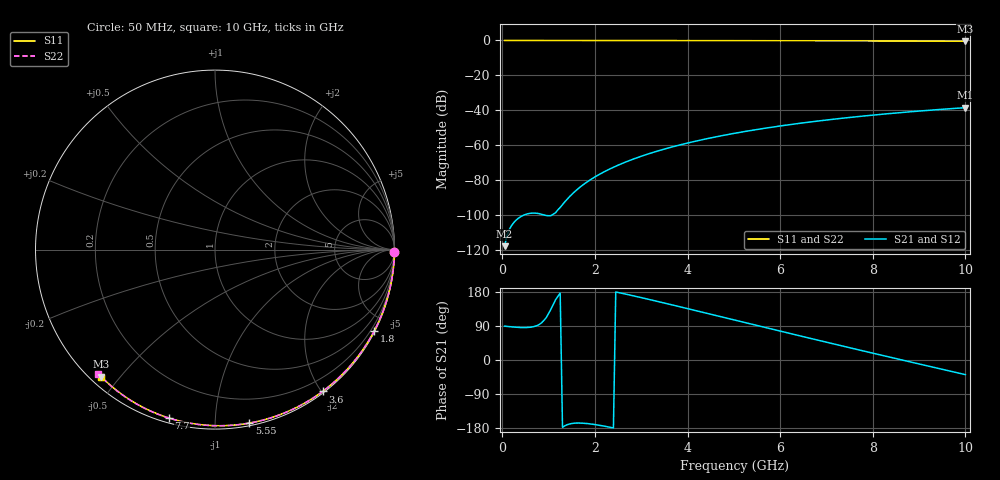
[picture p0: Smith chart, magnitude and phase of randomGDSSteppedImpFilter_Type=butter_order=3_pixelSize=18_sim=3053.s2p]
! freq	dB(S11)	phase(S11)	dB(S12)	phase(S12)
!  dB(S21)	phase(S21)	dB(S22)	phase(S22)
!S-par simulation data
#  GHz  S  DB  R 50
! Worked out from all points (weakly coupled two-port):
!   200 points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, 50 MHz to 10 GHz, reference 50 ohm
!   highest |S21| = -38.43 dB at 10 GHz (marker M1); lowest = -117.6 dB at 50 MHz (marker M2)
!   lowest |S11| = -0.4 dB at 10 GHz (marker M3), VSWR 39.04, Z = 1.54 - j22.4 ohm
!   |S11| at or under -10 dB: nowhere
!   |S22| runs from -0.5 to 0.0 dB; largest |S21 - S12| = 0
!   S11 on the Smith chart (normalised r, x): 50 MHz: open; 1.8 GHz: 0.04, -4.16; 3.6 GHz: 0.02, -2.01; 5.55 GHz: 0.02, -1.22; 7.7 GHz: 0.02, -0.76; 10 GHz: 0.03, -0.45
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0.05  -0.00 -0.8  -117.62 89.3  -117.62 89.3  -0.00 -0.8
0.9  -0.02 -13.6  -99.77 104.6  -99.77 104.6  -0.02 -13.8
1.75  -0.03 -26.3  -82.42 -166.8  -82.42 -166.8  -0.03 -26.6
1.8  -0.03 -27.0  -81.45 -167.3  -81.45 -167.3  -0.03 -27.3
1.85  -0.04 -27.7  -80.54 -167.9  -80.54 -167.9  -0.04 -28.0
1.9  -0.04 -28.5  -79.67 -168.7  -79.67 -168.7  -0.04 -28.8
2.05  -0.04 -30.7  -77.24 -171.3  -77.24 -171.3  -0.04 -31.0
2.25  -0.04 -33.6  -74.40 -175.6  -74.40 -175.6  -0.04 -34.0
2.45  -0.05 -36.5  -71.89 179.5  -71.89 179.5  -0.05 -36.9
2.65  -0.05 -39.4  -69.64 174.3  -69.64 174.3  -0.05 -39.8
3  -0.06 -44.4  -66.21 164.7  -66.21 164.7  -0.06 -44.9
3.4  -0.07 -50.0  -62.85 153.2  -62.85 153.2  -0.07 -50.6
3.6  -0.07 -52.8  -61.36 147.4  -61.36 147.4  -0.07 -53.4
4.3  -0.09 -62.4  -56.84 126.7  -56.84 126.7  -0.09 -63.1
5.05  -0.11 -72.4  -52.92 104.4  -52.92 104.4  -0.11 -73.2
5.55  -0.13 -78.9  -50.69 89.6  -50.69 89.6  -0.13 -79.7
6.1  -0.15 -85.8  -48.52 73.3  -48.52 73.3  -0.15 -86.8
6.7  -0.18 -93.3  -46.44 55.7  -46.44 55.7  -0.18 -94.3
7.7  -0.24 -105.3  -43.48 26.6  -43.48 26.6  -0.24 -106.4
8.35  -0.29 -112.9  -41.83 8.0  -41.83 8.0  -0.29 -114.2
9.15  -0.36 -122.1  -40.05 -14.7  -40.05 -14.7  -0.36 -123.5
10  -0.45 -131.8  -38.43 -38.6  -38.43 -38.6  -0.45 -133.3
